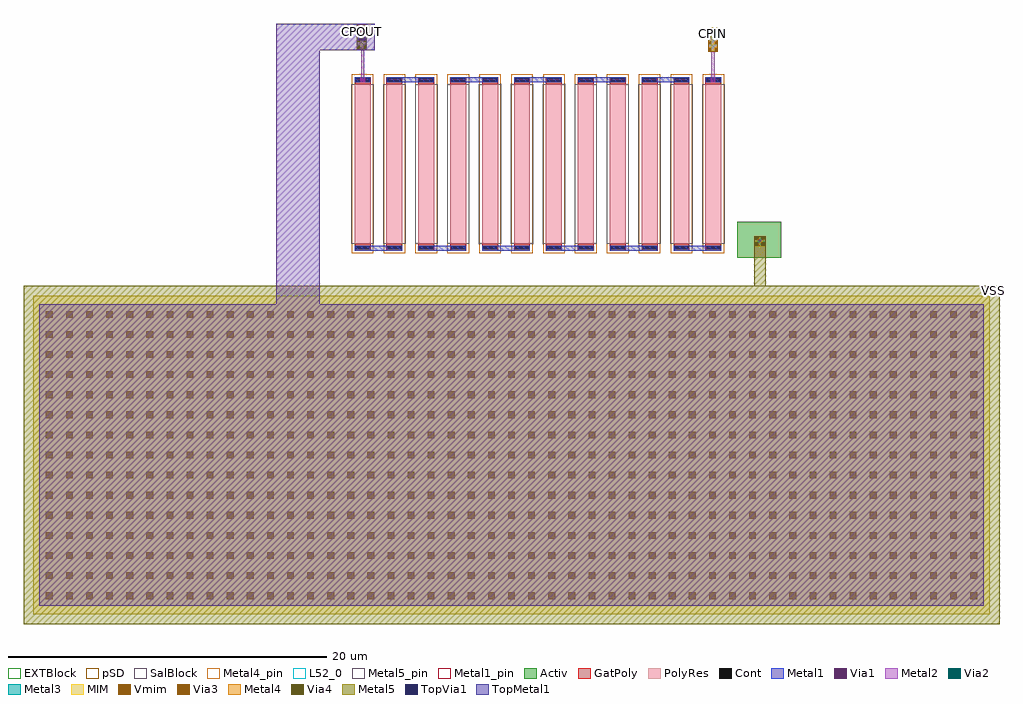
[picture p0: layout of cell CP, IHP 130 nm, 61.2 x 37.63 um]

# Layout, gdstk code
from math import pi, radians
import gdstk
lib = gdstk.Library(unit=1e-6, precision=5e-09)
def R(c, l, rs):  # rectangles x0, y0, x1, y1
    for r in rs: c.add(gdstk.rectangle(r[:2], r[2:], *l))
def A(c, l, x, y, w, h, nx, ny, dx, dy):  # array of equal rectangles
    R(c, l, [(x+i*dx, y+j*dy, x+i*dx+w, y+j*dy+h) for i in range(nx) for j in range(ny)])
Activ = (1, 0)
GatPoly = (5, 0)
Cont = (6, 0)
Metal1 = (8, 0)
Metal1_pin = (8, 2)
Metal2 = (10, 0)
pSD = (14, 0)
Via1 = (19, 0)
SalBlock = (28, 0)
Via2 = (29, 0)
Metal3 = (30, 0)
MIM = (36, 0)
Via3 = (49, 0)
Metal4 = (50, 0)
Metal4_pin = (50, 2)
L52_0 = (52, 0)
Via4 = (66, 0)
Metal5 = (67, 0)
Metal5_pin = (67, 2)
EXTBlock = (111, 0)
TopVia1 = (125, 0)
TopMetal1 = (126, 0)
PolyRes = (128, 0)
Vmim = (129, 0)

via_stack_4 = lib.new_cell('via_stack$4')
R(via_stack_4, Metal1, [(-0.35,-0.31,0.35,0.31)])
R(via_stack_4, Metal2, [(-0.35,-0.305,0.35,0.305)])
R(via_stack_4, Via1, [(-0.3,-0.3,-0.11,-0.11), (0.11,-0.3,0.3,-0.11), (-0.3,0.11,-0.11,0.3), (0.11,0.11,0.3,0.3)])
R(via_stack_4, Via2, [(-0.3,-0.3,-0.11,-0.11), (0.11,-0.3,0.3,-0.11), (-0.3,0.11,-0.11,0.3), (0.11,0.11,0.3,0.3)])
R(via_stack_4, Metal3, [(-0.35,-0.305,0.35,0.305)])
R(via_stack_4, Via3, [(-0.3,-0.3,-0.11,-0.11), (0.11,-0.3,0.3,-0.11), (-0.3,0.11,-0.11,0.3), (0.11,0.11,0.3,0.3)])
R(via_stack_4, Metal4, [(-0.35,-0.305,0.35,0.305)])
R(via_stack_4, Via4, [(-0.3,-0.3,-0.11,-0.11), (0.11,-0.3,0.3,-0.11), (-0.3,0.11,-0.11,0.3), (0.11,0.11,0.3,0.3)])
R(via_stack_4, Metal5, [(-0.35,-0.305,0.35,0.305)])

rppd = lib.new_cell('rppd')
A(rppd, GatPoly, 0, -0.43, 1, 0.23, 12, 2, 2, 10.63)
A(rppd, GatPoly, 0, -0.2, 1, 0.2, 12, 2, 2, 10.2)
A(rppd, Cont, 0.07, -0.36, 0.86, 0.16, 12, 2, 2, 10.56)
A(rppd, Metal1, 0.02, -0.43, 0.96, 0.3, 12, 2, 2, 10.56)
A(rppd, Metal1, 2.02, -0.43, 2.96, 0.3, 5, 1, 4, 0)
A(rppd, Metal1, 0.02, 10.13, 2.96, 0.3, 6, 1, 4, 0)
A(rppd, Metal1_pin, 0.02, -0.43, 0.96, 0.3, 12, 2, 2, 10.56)
A(rppd, pSD, -0.18, -0.61, 1.36, 0.61, 12, 2, 2, 10.61)
A(rppd, pSD, -0.18, 0, 1.36, 10, 12, 1, 2, 0)
A(rppd, SalBlock, -0.2, 0, 1.4, 10, 12, 1, 2, 0)
A(rppd, L52_0, 0, 0, 1, 10, 12, 1, 2, 0)
A(rppd, EXTBlock, -0.18, -0.61, 1.36, 0.61, 12, 2, 2, 10.61)
A(rppd, EXTBlock, -0.2, 0, 1.4, 10, 12, 1, 2, 0)
A(rppd, PolyRes, 0, 0, 1, 10, 12, 1, 2, 0)
rppd.add(gdstk.Label('rppd r=2654.493', (0.5,5), layer=63, texttype=0))
rppd.add(gdstk.Label('rppd r=2654.493', (0.5,5), layer=63, texttype=0))
rppd.add(gdstk.Label('rppd r=2654.493', (0.5,5), layer=63, texttype=0))
rppd.add(gdstk.Label('rppd r=2654.493', (0.5,5), layer=63, texttype=0))
rppd.add(gdstk.Label('rppd r=2654.493', (0.5,5), layer=63, texttype=0))
rppd.add(gdstk.Label('rppd r=2654.493', (0.5,5), layer=63, texttype=0))
rppd.add(gdstk.Label('rppd r=2654.493', (0.5,5), layer=63, texttype=0))
rppd.add(gdstk.Label('rppd r=2654.493', (0.5,5), layer=63, texttype=0))
rppd.add(gdstk.Label('rppd r=2654.493', (0.5,5), layer=63, texttype=0))
rppd.add(gdstk.Label('rppd r=2654.493', (0.5,5), layer=63, texttype=0))
rppd.add(gdstk.Label('rppd r=2654.493', (0.5,5), layer=63, texttype=0))
rppd.add(gdstk.Label('rppd r=2654.493', (0.5,5), layer=63, texttype=0))
rppd.add(gdstk.Label('rppd', (0.5,5), layer=52, texttype=0))
rppd.add(gdstk.Label('rppd', (2.5,5), layer=52, texttype=0))
rppd.add(gdstk.Label('rppd', (4.5,5), layer=52, texttype=0))
rppd.add(gdstk.Label('rppd', (6.5,5), layer=52, texttype=0))
rppd.add(gdstk.Label('rppd', (8.5,5), layer=52, texttype=0))
rppd.add(gdstk.Label('rppd', (10.5,5), layer=52, texttype=0))
rppd.add(gdstk.Label('rppd', (12.5,5), layer=52, texttype=0))
rppd.add(gdstk.Label('rppd', (14.5,5), layer=52, texttype=0))
rppd.add(gdstk.Label('rppd', (16.5,5), layer=52, texttype=0))
rppd.add(gdstk.Label('rppd', (18.5,5), layer=52, texttype=0))
rppd.add(gdstk.Label('rppd', (20.5,5), layer=52, texttype=0))
rppd.add(gdstk.Label('rppd', (22.5,5), layer=52, texttype=0))

via_stack = lib.new_cell('via_stack')
R(via_stack, Metal2, [(-0.76,-0.305,0.76,0.305)])
A(via_stack, Via2, -0.71, -0.3, 0.19, 0.19, 4, 2, 0.41, 0.41)
R(via_stack, Metal3, [(-0.76,-0.305,0.76,0.305)])
A(via_stack, Via3, -0.71, -0.3, 0.19, 0.19, 4, 2, 0.41, 0.41)
R(via_stack, Metal4, [(-0.76,-0.305,0.76,0.305)])
A(via_stack, Via4, -0.71, -0.3, 0.19, 0.19, 4, 2, 0.41, 0.41)
R(via_stack, Metal5, [(-0.76,-0.31,0.76,0.31)])
R(via_stack, TopVia1, [(-0.21,-0.21,0.21,0.21)])
R(via_stack, TopMetal1, [(-0.82,-0.82,0.82,0.82)])

via_stack_2 = lib.new_cell('via_stack$2')
R(via_stack_2, Metal2, [(-0.76,-0.305,0.76,0.305)])
A(via_stack_2, Via2, -0.71, -0.3, 0.19, 0.19, 4, 2, 0.41, 0.41)
R(via_stack_2, Metal3, [(-0.76,-0.305,0.76,0.305)])
A(via_stack_2, Via3, -0.71, -0.3, 0.19, 0.19, 4, 2, 0.41, 0.41)
R(via_stack_2, Metal4, [(-0.76,-0.305,0.76,0.305)])

res = lib.new_cell('RES')
R(res, Metal2, [(31.42,34.33,31.72,34.63), (31.475,34.38,34.86,34.58), (31.42,56.295,31.72,56.595), (31.42,56.35,35.01,56.55)])
R(res, Via1, [(31.475,34.385,31.665,34.575), (31.47,56.35,31.66,56.54)])
res.add(gdstk.Reference(rppd, (31.29,33.96), rotation=pi/2))
res.add(gdstk.Reference(via_stack, (34.25,56.51)))
res.add(gdstk.Reference(via_stack_2, (34.1,34.48)))

cmim = lib.new_cell('cmim')
R(cmim, MIM, [(0,0,60,20)])
R(cmim, Metal5, [(-0.6,-0.6,60.6,20.6)])
R(cmim, TopMetal1, [(0.39,0.55,59.61,19.45)])
A(cmim, Vmim, 0.81, 0.97, 0.42, 0.42, 47, 15, 1.26, 1.26)
cmim.add(gdstk.Label('c=1.81p', (30,10), layer=63, texttype=0))
cmim.add(gdstk.Label('cmim', (30,10), layer=63, texttype=0))

c_cp = lib.new_cell('CP')
R(c_cp, Activ, [(65.73,32.67,68.49,34.93)])
R(c_cp, Cont, [(67.08,33.64,67.24,33.8)])
R(c_cp, pSD, [(65.73,32.67,68.49,34.93)])
R(c_cp, Metal4_pin, [(63.915,45.61,64.525,47.13), (41.885,45.76,42.495,47.28)])
R(c_cp, Metal5, [(66.81,30.62,67.51,34.025)])
R(c_cp, Metal5_pin, [(20.98,9.71,82.18,30.91)])
R(c_cp, TopMetal1, [(36.84,29.76,39.55,47.34), (36.84,45.7,43.01,47.34)])
c_cp.add(gdstk.Reference(via_stack_4, (67.16,33.72)))
c_cp.add(gdstk.Reference(res, (98.7,12.27), rotation=pi/2))
c_cp.add(gdstk.Reference(cmim, (21.58,10.31)))
c_cp.add(gdstk.Label('VSS', (81.8,30.62), layer=67, texttype=25))
c_cp.add(gdstk.Label('CPIN', (64.19,46.77), layer=50, texttype=25))
c_cp.add(gdstk.Label('CPOUT', (42.15,46.89), layer=50, texttype=25))

lib.write_gds('CP.gds')
